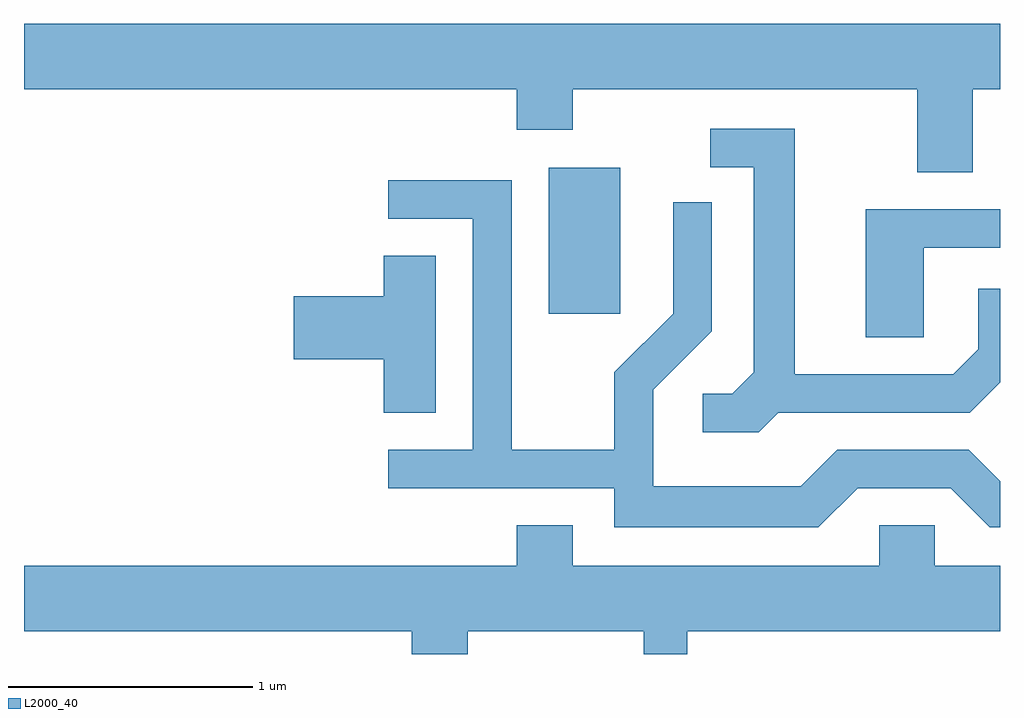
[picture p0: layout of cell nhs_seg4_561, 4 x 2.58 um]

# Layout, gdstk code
import gdstk
lib = gdstk.Library(unit=1e-6, precision=1e-09)
def R(c, l, rs):  # rectangles x0, y0, x1, y1
    for r in rs: c.add(gdstk.rectangle(r[:2], r[2:], *l))
def P(c, l, *ps):  # polygons
    for p in ps: c.add(gdstk.Polygon(p, *l))
L2000_40 = (2000, 40)

nhs_seg4_561 = lib.new_cell('nhs_seg4_561')
R(nhs_seg4_561, L2000_40, [(203.761,1289.376,204.054,1289.974)])
P(nhs_seg4_561, L2000_40, [(205.499,1290.296),(205.611,1290.296),(205.611,1290.564),(201.611,1290.564),(201.611,1290.296),(203.631,1290.296),(203.631,1290.131),(203.859,1290.131),(203.859,1290.296),(205.271,1290.296),(205.271,1289.956),(205.499,1289.956)],
  [(204.702,1288.971),(205.487,1288.971),(205.611,1289.096),(205.611,1289.478),(205.521,1289.478),(205.521,1289.232),(205.419,1289.129),(204.769,1289.129),(204.769,1290.134),(204.423,1290.134),(204.423,1289.976),(204.601,1289.976),(204.601,1289.137),(204.514,1289.049),(204.393,1289.049),(204.393,1288.891),(204.622,1288.891)],
  [(205.027,1288.661),(205.409,1288.661),(205.569,1288.501),(205.611,1288.501),(205.611,1288.69),(205.482,1288.819),(204.944,1288.819),(204.794,1288.669),(204.189,1288.669),(204.189,1289.064),(204.429,1289.304),(204.429,1289.833),(204.271,1289.833),(204.271,1289.377),(204.031,1289.137),(204.031,1288.819),(203.609,1288.819),(203.609,1289.924),(203.103,1289.924),(203.103,1289.766),(203.451,1289.766),(203.451,1288.819),(203.103,1288.819),(203.103,1288.661),(204.031,1288.661),(204.031,1288.501),(204.867,1288.501)],
  [(205.299,1289.646),(205.611,1289.646),(205.611,1289.804),(205.061,1289.804),(205.061,1289.281),(205.299,1289.281)],
  [(203.299,1289.614),(203.086,1289.614),(203.086,1289.449),(202.716,1289.449),(202.716,1289.191),(203.086,1289.191),(203.086,1288.971),(203.299,1288.971)],
  [(203.429,1288.076),(204.151,1288.076),(204.151,1287.982),(204.329,1287.982),(204.329,1288.076),(205.611,1288.076),(205.611,1288.344),(205.344,1288.344),(205.344,1288.509),(205.116,1288.509),(205.116,1288.344),(203.859,1288.344),(203.859,1288.509),(203.631,1288.509),(203.631,1288.344),(201.611,1288.344),(201.611,1288.076),(203.201,1288.076),(203.201,1287.982),(203.429,1287.982)])

lib.write_gds('nhs_seg4_561.gds')
